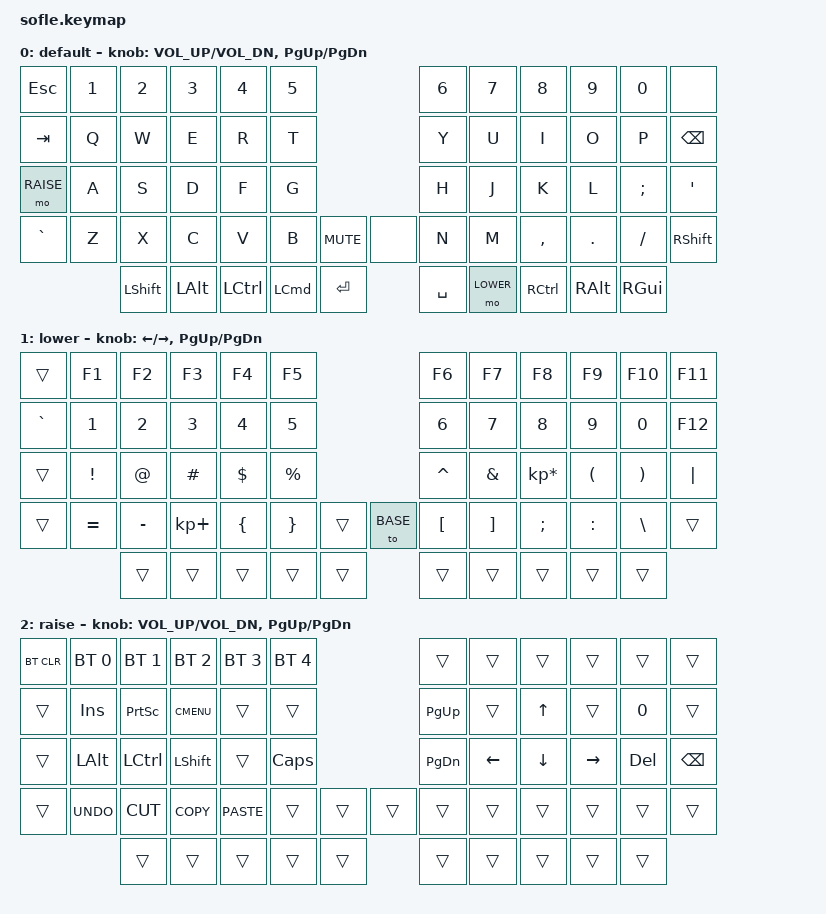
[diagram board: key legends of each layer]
/*
 * Copyright (c) 2020 The ZMK Contributors
 *
 * SPDX-License-Identifier: MIT
 */

#include <behaviors.dtsi>
#include <dt-bindings/zmk/keys.h>
#include <dt-bindings/zmk/bt.h>

#include <dt-bindings/zmk/ext_power.h>

#define BASE 0
#define LOWER 1
#define RAISE 2

/ {

    keymap {
        compatible = "zmk,keymap";

        default_layer {
            display-name = "default";
// ------------------------------------------------------------------------------------------------------------
// |  ESC  |  1  |  2   |  3   |  4   |  5   |                   |  6   |  7    |  8    |  9   |   0   |       |
// |  TAB  |  Q  |  W   |  E   |  R   |  T   |                   |  Y   |  U    |  I    |  O   |   P   | BKSPC |
// | RAISE |  A  |  S   |  D   |  F   |  G   |                   |  H   |  J    |  K    |  L   |   ;   |   '   |
// | GRAVE |  Z  |  X   |  C   |  V   |  B   |  MUTE  |  |       |  N   |  M    |  ,    |  .   |   /   | SHIFT |
//               | LSFT | ALT  | CTRL | CMD  |  ENTER |  | SPACE | RAISE| CTRL  | ALT   | GUI  |
            bindings = <
&kp ESC   &kp N1 &kp N2   &kp N3   &kp N4    &kp N5                           &kp N6 &kp N7    &kp N8    &kp N9   &kp N0   &none
&kp TAB   &kp Q  &kp W    &kp E    &kp R     &kp T                            &kp Y  &kp U     &kp I     &kp O    &kp P    &kp BSPC
&mo RAISE   &kp A  &kp S    &kp D    &kp F     &kp G                       &kp H  &kp J     &kp K     &kp L    &kp SEMI &kp SQT
&kp GRAVE &kp Z  &kp X    &kp C    &kp V     &kp B     &kp C_MUTE    &none    &kp N  &kp M     &kp COMMA &kp DOT  &kp FSLH &kp RSHFT
                 &kp LSHIFT &kp LALT &kp LCTRL &kp LCMD  &kp RET         &kp SPACE &mo LOWER  &kp RCTRL &kp RALT  &kp RGUI
            >;

            sensor-bindings = <&inc_dec_kp C_VOL_UP C_VOL_DN &inc_dec_kp PG_UP PG_DN>;
        };

        lower_layer {
            display-name = "lower";
// TODO: Some binds are waiting for shifted keycode support.
// ------------------------------------------------------------------------------------------------------------
// |       |  F1 |  F2 |  F3  |  F4  |  F5  |                   |  F6  |  F7   |  F8   |  F9  |  F10  |  F11  |
// |   `   |  1  |  2  |  3   |  4   |  5   |                   |  6   |  7    |  8    |  9   |   0   |  F12  |
// |       |  !  |  @  |  #   |  $   |  %   |                   |  ^   |  &    |  *    |  (   |   )   |   |   |
// |       |  =  |  -  |  +   |  {   |  }   |        |  |       |  [   |  ]    |  ;    |  :   |   \   |       |
//               |     |      |      |      |        |  |       |      |       |       |      |
            bindings = <
&trans    &kp F1    &kp F2    &kp F3      &kp F4    &kp F5                    &kp F6    &kp F7   &kp F8          &kp F9    &kp F10   &kp F11
&kp GRAVE &kp N1    &kp N2    &kp N3      &kp N4    &kp N5                    &kp N6    &kp N7   &kp N8          &kp N9    &kp N0    &kp F12
&trans    &kp EXCL  &kp AT    &kp HASH    &kp DLLR  &kp PRCNT                 &kp CARET &kp AMPS &kp KP_MULTIPLY &kp LPAR  &kp RPAR  &kp PIPE
&trans    &kp EQUAL &kp MINUS &kp KP_PLUS &kp LBRC  &kp RBRC   &trans &to BASE  &kp LBKT  &kp RBKT &kp SEMI        &kp COLON &kp BSLH  &trans
                    &trans    &trans      &trans    &trans     &trans &trans  &trans    &trans   &trans          &trans
            >;

            sensor-bindings = <&inc_dec_kp LEFT RIGHT &inc_dec_kp PG_UP PG_DN>;
        };

        raise_layer {
            display-name = "raise";
// ------------------------------------------------------------------------------------------------------------
// | BTCLR | BT1  | BT2  |  BT3  |  BT4  |  BT5 |                |      |      |       |      |       |       |
// |       | INS  | PSCR | GUI   |       |      |                | PGUP |      |   ^   |      |       |       |
// |       | ALT  | CTRL | SHIFT |       | CAPS |                | PGDN |   <- |   v   |  ->  |  DEL  | BKSPC |
// |       | UNDO | CUT  | COPY  | PASTE |      |      |  |      |      |      |       |      |       |       |
//                |      |       |       |      |      |  |      |      |      |       |      |
            bindings = <
&bt BT_CLR &bt BT_SEL 0 &bt BT_SEL 1 &bt BT_SEL 2 &bt BT_SEL 3 &bt BT_SEL 4                  &trans    &trans    &trans   &trans    &trans  &trans
&trans     &kp INS      &kp PSCRN    &kp K_CMENU  &trans       &trans                        &kp PG_UP &trans    &kp UP   &trans    &kp N0  &trans
&trans     &kp LALT     &kp LCTRL    &kp LSHFT    &trans       &kp CLCK                      &kp PG_DN &kp LEFT  &kp DOWN &kp RIGHT &kp DEL &kp BSPC
&trans     &kp K_UNDO   &kp K_CUT    &kp K_COPY   &kp K_PASTE  &trans        &trans  &trans  &trans    &trans    &trans   &trans    &trans  &trans
                        &trans       &trans       &trans       &trans        &trans  &trans  &trans    &trans    &trans   &trans
            >;

            sensor-bindings = <&inc_dec_kp C_VOL_UP C_VOL_DN &inc_dec_kp PG_UP PG_DN>;
        };
    };
};
